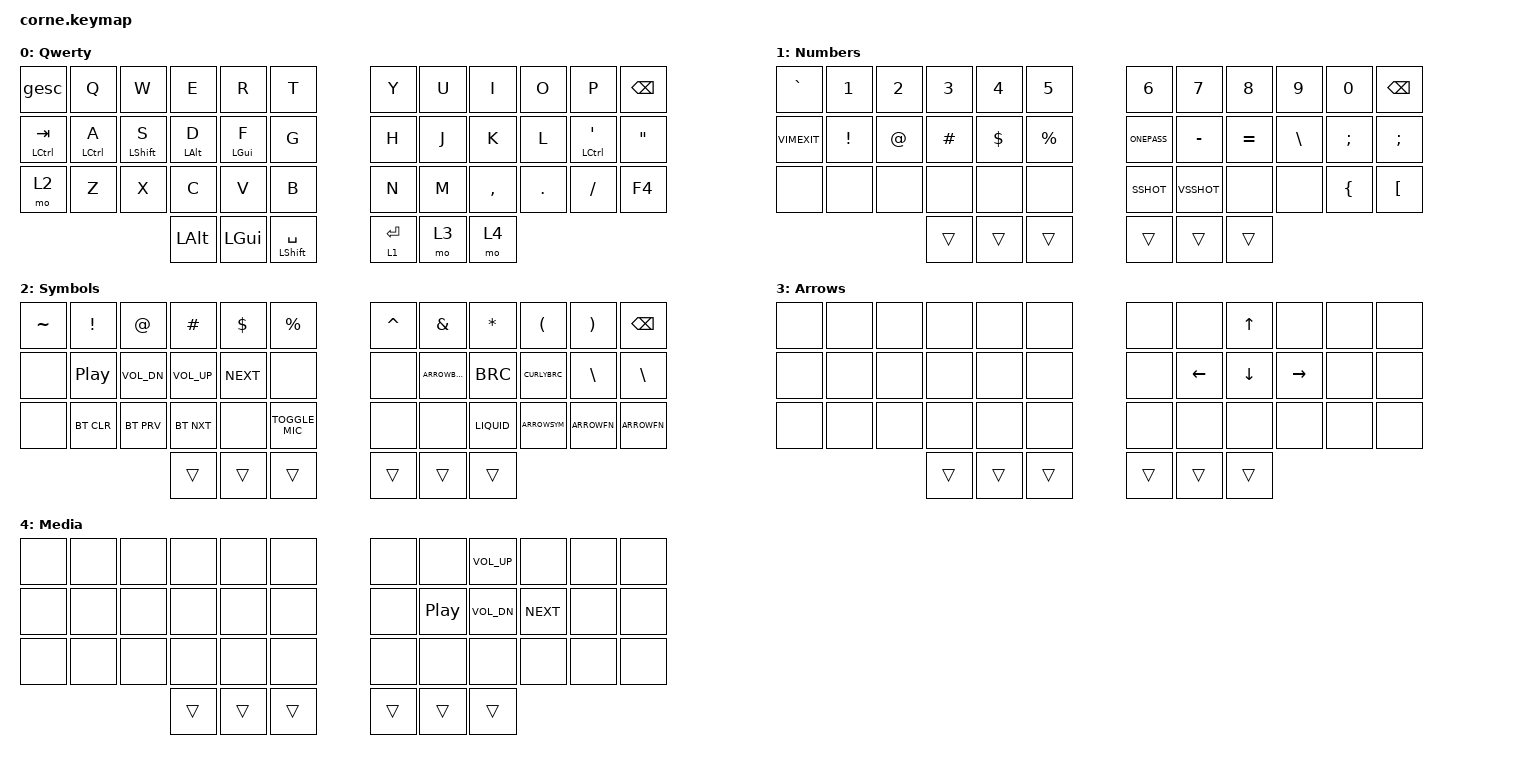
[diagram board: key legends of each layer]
/*
 * Copyright (c) 2020 The ZMK Contributors
 *
 * SPDX-License-Identifier: MIT
 */

#include <behaviors.dtsi>
#include <dt-bindings/zmk/keys.h>
#include <dt-bindings/zmk/bt.h>


/ {
    macros {
        VIMEXIT: VIMEXIT {
            compatible = "zmk,behavior-macro";
            label = "VIMEXIT";
            #binding-cells = <0>;
            bindings =
                <&macro_tap &kp ESC>,
                <&macro_press &kp LSHFT>,
                <&macro_tap &kp SEMICOLON>,
                <&macro_release &kp LSHFT>,
                <&macro_tap &kp W>,
                <&macro_tap &kp Q>,
                <&macro_tap &kp ENTER>;
        };
        TOGGLE_MIC: TOGGLE_MIC {
            compatible = "zmk,behavior-macro";
            label = "TOGGLE_MIC";
            #binding-cells = <0>;
            bindings =
                <&macro_press &kp LGUI>,
                <&macro_press &kp LSHFT>,
                <&macro_tap &kp W>,
                <&macro_release &kp LGUI>,
                <&macro_release &kp LSHFT>;
        };
        VSSHOT: VSSHOT {
            compatible = "zmk,behavior-macro";
            label = "VSSHOT";
            #binding-cells = <0>;
            bindings =
                <&macro_press &kp LGUI>,
                <&macro_press &kp LALT>,
                <&macro_tap &kp N5>,
                <&macro_release &kp LGUI>,
                <&macro_release &kp LALT>;
        };
        BRC: BRC {
            compatible = "zmk,behavior-macro";
            label = "BRC";
            #binding-cells = <0>;
            bindings =
                <&macro_tap &kp LBKT &kp RBKT &kp LEFT_ARROW>;
        };
        CURLYBRC: CURLYBRC {
            compatible = "zmk,behavior-macro";
            label = "CURLYBRC";
            #binding-cells = <0>;
            bindings =
                <&macro_tap &kp LBRC &kp RBRC &kp LEFT_ARROW>;
        };
        ARROWBRC: ARROWBRC {
            compatible = "zmk,behavior-macro";
            label = "ARROWBRC";
            #binding-cells = <0>;
            bindings =
                <&macro_tap &kp LT &kp GT>;
        };
        ARROWSYM: ARROWSYM {
            compatible = "zmk,behavior-macro";
            label = "ARROWSYM";
            #binding-cells = <0>;
            bindings =
                <&macro_tap &kp EQUAL &kp GT &kp SPACE>;
        };
        ARROWFN: ARROWFN {
            compatible = "zmk,behavior-macro";
            label = "ARROWFN";
            #binding-cells = <0>;
            bindings =
                <&macro_tap &kp LPAR &kp RPAR &kp SPACE &kp EQUAL &kp GT &kp SPACE &kp LBRC &kp RBRC &kp LEFT_ARROW>;
        };
        LIQUID: LIQUID {
            compatible = "zmk,behavior-macro";
            label = "LIQUID";
            #binding-cells = <0>;
            bindings =
                <&macro_tap &kp LBRC &kp PERCENT &kp SPACE &kp SPACE &kp PERCENT &kp RBRC &kp LEFT_ARROW &kp LEFT_ARROW &kp LEFT_ARROW>;
        };
        ONEPASS: ONEPASS {
            compatible = "zmk,behavior-macro";
            label = "ONEPASS";
            #binding-cells = <0>;
            bindings =
                <&macro_press &kp LGUI>,
                <&macro_tap &kp BACKSLASH>,
                <&macro_release &kp LGUI>;
        };
        SSHOT: SSHOT {
            compatible = "zmk,behavior-macro";
            label = "SSHOT";
            #binding-cells = <0>;
            bindings =
                <&macro_press>,
                <&kp LGUI>,
                <&macro_press>,
                <&kp LEFT_ALT>,
                <&macro_tap>,
                <&kp NUMBER_4>,
                <&macro_release>,
                <&kp LGUI>,
                <&macro_release>,
                <&kp LALT>;
        };
    };

    behaviors {
        bhm: balanced_homerow_mods {
            compatible = "zmk,behavior-hold-tap";
            label = "HOMEROW_MODS";
            #binding-cells = <2>;
            tapping-term-ms = <450>;    // <---[[moderate duration]]
            flavor = "balanced";
            bindings = <&kp>, <&kp>;
        };
        bshsp: balanced_shift_space {
            compatible = "zmk,behavior-hold-tap";
            label = "SHIFT_SPACE";
            #binding-cells = <2>;
            tapping-term-ms = <200>;
            quick-tap-ms = <125>;
            flavor = "balanced";
            bindings = <&kp>, <&kp>;
        };
        gesc: grave_escape {
            compatible = "zmk,behavior-mod-morph";
            label = "GRAVE_ESCAPE";
            #binding-cells = <0>;
            bindings = <&kp ESC>, <&kp GRAVE>;
            keep-mods = <(MOD_LGUI)>;
            mods = <(MOD_LGUI|MOD_LALT)>;
        };
    };

    keymap {
        compatible = "zmk,keymap";

        default_layer {
            label = "Qwerty";
            bindings = <
                &gesc          &kp Q         &kp W         &kp E        &kp R        &kp T               &kp Y   &kp U        &kp I        &kp O           &kp P                       &kp BSPC
                &mt LCTRL TAB  &bhm LCTRL A  &bhm LSHFT S  &bhm LALT D  &bhm LGUI F  &kp G               &kp H   &kp J        &kp K  &kp L   &bhm LCTRL SINGLE_QUOTE          &kp DOUBLE_QUOTES
                &mo 2          &kp Z         &kp X         &kp C        &kp V        &kp B               &kp N   &kp M        &kp COMMA    &kp DOT         &kp SLASH           &kp F4
                                                       &kp LALT    &kp LGUI    &bshsp LSHFT SPACE        &lt 1 ENTER    &mo 3    &mo 4
            >;
        };

        lower_layer {
            label = "Numbers";
            bindings = <
                &kp GRAVE    &kp N1    &kp N2    &kp N3    &kp N4       &kp N5                  &kp N6     &kp N7     &kp N8      &kp N9         &kp N0             &kp BSPC
                &VIMEXIT     &kp EXCL  &kp AT    &kp HASH  &kp DLLR     &kp PERCENT             &ONEPASS   &kp MINUS  &kp EQUAL   &kp BACKSLASH  &kp SEMICOLON      &kp SEMI
                &none        &none     &none     &none     &none        &none                   &SSHOT     &VSSHOT    &none        &none         &kp LBRC   &kp LEFT_BRACKET
                                                         &trans    &trans    &trans       &trans    &trans    &trans
            >;
        };

        raise_layer {
            label = "Symbols";
            bindings = <
                &kp TILDE  &kp EXCL      &kp AT          &kp HASH       &kp DLLR    &kp PRCNT                   &kp CARET    &kp AMPS    &kp ASTERISK   &kp LPAR    &kp RPAR         &kp BSPC
                &none      &kp C_PP      &kp C_VOL_DN    &kp C_VOL_UP   &kp C_NEXT  &none                       &none        &ARROWBRC   &BRC           &CURLYBRC   &kp BSLH    &kp BACKSLASH
                &none      &bt BT_CLR   &bt BT_PRV   &bt BT_NXT   &none       &TOGGLE_MIC                 &none        &none       &LIQUID        &ARROWSYM    &ARROWFN        &ARROWFN
                                                                    &trans    &trans    &trans             &trans    &trans    &trans
            >;
        };

        adjust_layer {
            label = "Arrows";
            bindings = <
                &none    &none        &none          &none          &none            &none                 &none    &none            &kp UP_ARROW     &none             &none          &none
                &none    &none        &none          &none          &none           &none                  &none    &kp LEFT_ARROW   &kp DOWN_ARROW   &kp RIGHT_ARROW   &none          &none
                &none    &none        &none          &none          &none           &none                  &none    &none            &none             &none            &none          &none
                                                                  &trans    &trans    &trans             &trans    &trans    &trans
            >;
        };
        media_layer {
            label = "Media";
            bindings = <
                &none    &none        &none          &none          &none            &none                 &none    &none            &kp C_VOL_UP     &none             &none          &none
                &none    &none        &none          &none          &none           &none                  &none    &kp C_PP   &kp C_VOL_DN   &kp C_NEXT   &none          &none
                &none    &none        &none          &none          &none           &none                  &none    &none            &none             &none            &none          &none
                                                                  &trans    &trans    &trans             &trans    &trans    &trans
            >;
        };
    };
};

